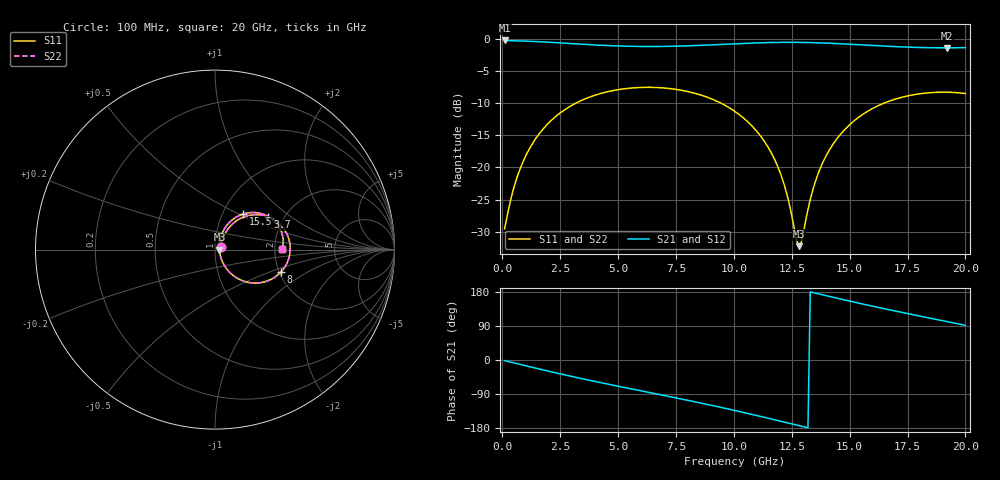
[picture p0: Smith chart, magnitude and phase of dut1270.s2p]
! Touchstone file exported from HFSS 2026.1.0
!  File:  C:/ffzhzh/LocalFiles/Ansys_Project_Files/temp_train_TSV_RDL_1270_1783328407_30076.aedt
!  Generated:  05:16:21 PM Jul  6, 2026
!  Design:  TSV_RDL
!  Project:  temp_train_TSV_RDL_1270_1783328407_30076
! Variables:
!  h_bsmrdl = 4.46um
!  h_ox = 20um
!  h_rdl = 5um
!  h_sub = 98.5um
!  h_tmrdl = 3.23um
!  h_tsv = 98.5um
!  h_via = 3um
!  l_bsmrdl = 757.42um
!  l_sub = 4300.86um
!  l_tmrdl = 379.49um
!  m_sub = 200um
!  pitch = 33.05um
!  r_tsv = 2.52um
!  s_tmrdl = 10um
!  w_bsmrdl = 22.04um
!  w_sub = 500um
!  w_tmrdl = 14.84um
!  x_tsv_center1 = 386.91um
!  x_tsv_center2 = 1166.37um
!  x_tsv_center3 = 1560.7um
!  x_tsv_center4 = 2340.16um
!  x_tsv_center5 = 2734.49um
!  x_tsv_center6 = 3513.95um
# GHz S MA R 50.000000
! Terminal data exported
! Port[1] = TM_RDL1_1_T1
! Port[2] = TM_RDL5_1_T1
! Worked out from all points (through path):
!   200 points, 100 MHz to 20 GHz, reference 50 ohm
!   highest |S21| = -0.27 dB at 100 MHz (marker M1); lowest = -1.4 dB at 19.2 GHz (marker M2)
!   group delay of S21, straight-line fit = 37.3 ps
!   lowest |S11| = -32.2 dB at 12.8 GHz (marker M3), VSWR 1.05, Z = 52.5 - j0.0833 ohm
!   |S11| at or under -10 dB: start of sweep to 3.181 GHz; 9.437 GHz to 16.49 GHz (7.051 GHz wide, 54.4 % of centre)
!   |S22| runs from -32.3 to -7.6 dB; largest |S21 - S12| = 1.5e-14
!   S11 on the Smith chart (normalised r, x): 100 MHz: 1.06, +0.03; 3.7 GHz: 1.66, +0.69; 8 GHz: 2.05, -0.60; 15.5 GHz: 1.25, +0.53; 20 GHz: 2.20, +0.01
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0.1  0.0335 21.8  0.9692 -1.6  0.9692 -1.6  0.0335 21.8
! Gamma 0 0 0 0
! Port Impedance 50 0 50 0
0.6  0.08 55.3  0.9629 -9.2  0.9629 -9.2  0.08 55.3
1.3  0.1529 57.0  0.953 -19.5  0.953 -19.5  0.1529 57.0
2.2  0.2396 49.0  0.9348 -32.4  0.9348 -32.4  0.2396 49.0
3.5  0.3366 33.9  0.9047 -50.1  0.9047 -50.1  0.3366 33.9
3.7  0.3482 31.6  0.9004 -52.7  0.9004 -52.7  0.3482 31.6
5.2  0.4068 14.0  0.8759 -71.7  0.8759 -71.7  0.4068 14.0
6.8  0.4166 -4.5  0.8703 -91.3  0.8703 -91.3  0.4166 -4.5
8  0.3891 -18.4  0.8801 -106.2  0.8801 -106.2  0.3891 -18.4
10.1  0.2682 -43.4  0.9143 -134.0  0.9143 -134.0  0.2682 -43.4
11.1  0.1807 -54.5  0.9293 -148.1  0.9293 -148.1  0.1807 -54.5
11.8  0.1115 -59.4  0.9357 -158.3  0.9357 -158.3  0.1115 -59.4
12.3  0.06112 -55.6  0.9375 -165.6  0.9375 -165.6  0.06105 -55.6
12.8  0.02449 -1.9  0.9365 -173.0  0.9365 -173.0  0.02436 -1.8
12.9  0.02574 21.2  0.9361 -174.4  0.9361 -174.4  0.02562 21.3
13.4  0.06591 63.7  0.932 178.2  0.932 178.2  0.06587 63.8
13.8  0.1052 66.4  0.9271 172.4  0.9271 172.4  0.1052 66.5
14.2  0.1438 64.6  0.921 166.7  0.921 166.7  0.1438 64.6
15.5  0.2537 51.5  0.8958 148.6  0.8958 148.6  0.2537 51.5
16.7  0.327 37.7  0.8723 132.7  0.8723 132.7  0.327 37.7
19.2  0.3842 9.2  0.8493 101.4  0.8493 101.4  0.3842 9.3
20  0.3753 0.2  0.852 91.5  0.852 91.5  0.3753 0.2
